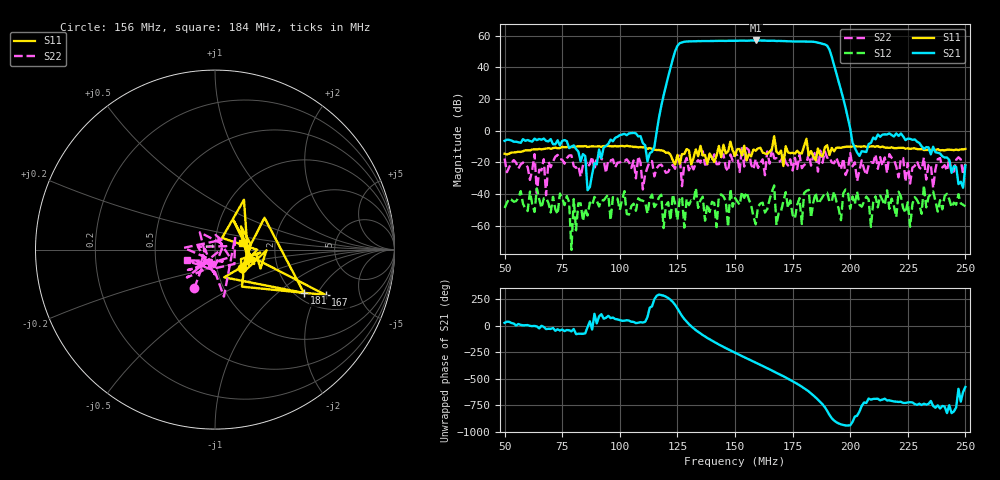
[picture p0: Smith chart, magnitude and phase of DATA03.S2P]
! Network Analyzer HP8753D.06.12 Serial No. 3410A09394
! 13 Jun 2019  09:42:57
# HZ  S  DB R 50
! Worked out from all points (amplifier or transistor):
!   201 points, 50 MHz to 250 MHz, reference 50 ohm
!   highest |S21| = 57.0 dB at 159 MHz (marker M1)
!   |S21| within 3 dB of that: 125.3 MHz to 189.6 MHz (64.38 MHz wide, 40.9 % of centre)
!   unconditionally stable (mu >= 1): start of sweep to 122.9 MHz; 124.6572 MHz to 125.2258 MHz; 193.5 MHz to end of sweep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
!   at 83 MHz: K = 835.34, MAG = -18.9 dB, |S12| = -46.0 dB
!   at 150 MHz: K = 2.64, MSG = 49.7 dB, |S12| = -42.6 dB
!   at 250 MHz: K = 1448.61, MAG = -21.7 dB, |S12| = -47.9 dB
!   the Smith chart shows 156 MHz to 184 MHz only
!   S11 on the Smith chart (normalised r, x): 156 MHz: 1.32, -0.27; 167 MHz: 2.64, -2.40; 181 MHz: 2.22, -1.54; 184 MHz: 1.34, +0.10
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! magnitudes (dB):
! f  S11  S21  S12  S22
! 50 MHz  -14.5  -6.4  -48.9  -17.6
! 63 MHz  -11.9  -5.0  -51.4  -14.9
! 64 MHz  -11.9  -6.0  -36.5  -39.6
! 67 MHz  -11.6  -5.0  -42.8  -18.1
! 68 MHz  -11.4  -6.5  -42.4  -40.8
! 77 MHz  -10.4  -6.7  -41.4  -17.5
! 79 MHz  -10.4  -10.1  -75.4  -15.6
! 80 MHz  -10.3  -9.3  -43.2  -22.4
! 84 MHz  -9.9  -14.8  -57.2  -22.0
! 86 MHz  -10.3  -37.7  -53.7  -22.9
! 117 MHz  -12.2  8.1  -42.1  -21.9
! 126 MHz  -21.0  55.3  -43.0  -15.8
! 150 MHz  -16.0  56.7  -42.6  -13.8
! 156 MHz  -14.9  56.9  -43.4  -12.3
! 159 MHz  -12.6  57.0  -59.1  -17.9
! 167 MHz  -3.5  56.8  -34.7  -17.6
! 168 MHz  -13.3  56.6  -59.6  -17.4
! 181 MHz  -5.2  56.3  -38.1  -20.6
! 184 MHz  -16.3  56.1  -45.3  -15.7
! 204 MHz  -10.0  -16.0  -46.8  -25.3
! 217 MHz  -10.9  -1.7  -49.4  -14.9
! 250 MHz  -11.6  -22.1  -47.9  -20.8
